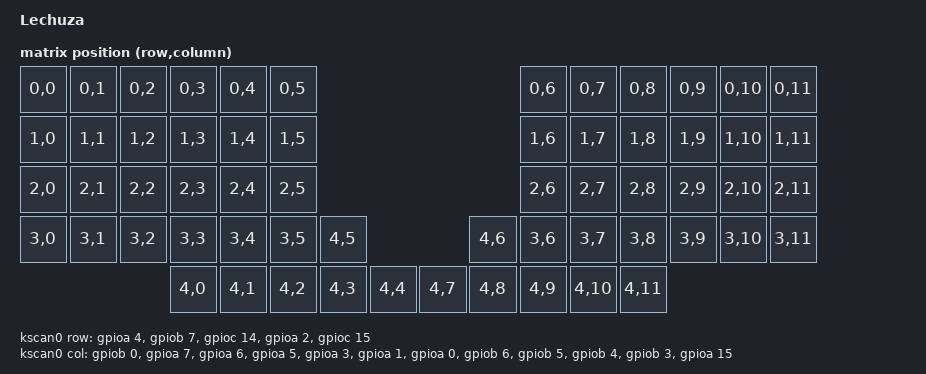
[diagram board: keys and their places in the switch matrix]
/*
 * Lechuza board configuration
 *
 * Copyright (c) 2022 elagil
 * SPDX-License-Identifier: MIT
 */

/dts-v1/;
#include <st/l0/stm32l072Xz.dtsi>
#include <st/l0/stm32l072c(b-z)tx-pinctrl.dtsi>

#include <dt-bindings/zmk/matrix_transform.h>

/ {
	model = "Lechuza";
	compatible = "lechuza", "st,stm32l072";

	chosen {
		zephyr,sram = &sram0;
		zephyr,flash = &flash0;
		zmk,kscan = &kscan0;
		zmk,matrix-transform = &default_transform;
	};

	kscan0: kscan {
		compatible = "zmk,kscan-gpio-matrix";
                diode-direction = "row2col";
		row-gpios
			= <&gpioa 4  (GPIO_ACTIVE_HIGH)>
			, <&gpiob 7  (GPIO_ACTIVE_HIGH)>
			, <&gpioc 14 (GPIO_ACTIVE_HIGH)>
			, <&gpioa 2  (GPIO_ACTIVE_HIGH)>
			, <&gpioc 15 (GPIO_ACTIVE_HIGH)>
			;
		col-gpios
			= <&gpiob 0  (GPIO_ACTIVE_HIGH | GPIO_PULL_DOWN)>
			, <&gpioa 7  (GPIO_ACTIVE_HIGH | GPIO_PULL_DOWN)>
			, <&gpioa 6  (GPIO_ACTIVE_HIGH | GPIO_PULL_DOWN)>
			, <&gpioa 5  (GPIO_ACTIVE_HIGH | GPIO_PULL_DOWN)>
			, <&gpioa 3  (GPIO_ACTIVE_HIGH | GPIO_PULL_DOWN)>
			, <&gpioa 1  (GPIO_ACTIVE_HIGH | GPIO_PULL_DOWN)>
			, <&gpioa 0  (GPIO_ACTIVE_HIGH | GPIO_PULL_DOWN)>
			, <&gpiob 6  (GPIO_ACTIVE_HIGH | GPIO_PULL_DOWN)>
			, <&gpiob 5  (GPIO_ACTIVE_HIGH | GPIO_PULL_DOWN)>
			, <&gpiob 4  (GPIO_ACTIVE_HIGH | GPIO_PULL_DOWN)>
			, <&gpiob 3  (GPIO_ACTIVE_HIGH | GPIO_PULL_DOWN)>
			, <&gpioa 15 (GPIO_ACTIVE_HIGH | GPIO_PULL_DOWN)>
			;
	};

	default_transform:
	keymap_transform_0 {
		compatible = "zmk,matrix-transform";
		rows = <5>;
		columns = <12>;
		map = <
		RC(0,0) RC(0,1) RC(0,2) RC(0,3) RC(0,4) RC(0,5) 								RC(0,6) RC(0,7) RC(0,8) RC(0,9) RC(0,10) RC(0,11)
		RC(1,0) RC(1,1) RC(1,2) RC(1,3) RC(1,4) RC(1,5) 								RC(1,6) RC(1,7) RC(1,8) RC(1,9) RC(1,10) RC(1,11)
		RC(2,0) RC(2,1) RC(2,2) RC(2,3) RC(2,4) RC(2,5) 								RC(2,6) RC(2,7) RC(2,8) RC(2,9) RC(2,10) RC(2,11)
		RC(3,0) RC(3,1) RC(3,2) RC(3,3) RC(3,4) RC(3,5) RC(4,5)					RC(4,6)	RC(3,6) RC(3,7) RC(3,8) RC(3,9) RC(3,10) RC(3,11)
								RC(4,0) RC(4,1) RC(4,2) RC(4,3) RC(4,4)	RC(4,7) RC(4,8) RC(4,9) RC(4,10) RC(4,11)
		>;
	};
};

&usb {
	status = "okay";

    pinctrl-0 = <&usb_dm_pa11 &usb_dp_pa12>;
    pinctrl-names = "default";
};

&flash0 {
	/*
	 * For more information, see:
	 * http: //docs.zephyrproject.org/latest/guides/dts/index.html#flash-partitions
	 */
	partitions {
		compatible = "fixed-partitions";
		#address-cells = <1>;
		#size-cells = <1>;

		/* Set 6Kb of storage at the end of the 192Kb of flash */
		storage_partition: partition@2ee00 {
			reg = <0x0002ee00 0x00001800>;
		};
	};
};

&clk_hsi {
  status = "okay";
};

&clk_lsi {
  status = "okay";
};

&clk_hsi48 {
  status = "okay";
};

&pll {
  mul = <4>;
  div = <2>;
  clocks = <&clk_hsi>;
  status = "okay";
};

&rcc {
  clocks = <&pll>;
  clock-frequency = <DT_FREQ_M(32)>;
  ahb-prescaler = <1>;
  apb1-prescaler = <1>;
  apb2-prescaler = <1>;
};
